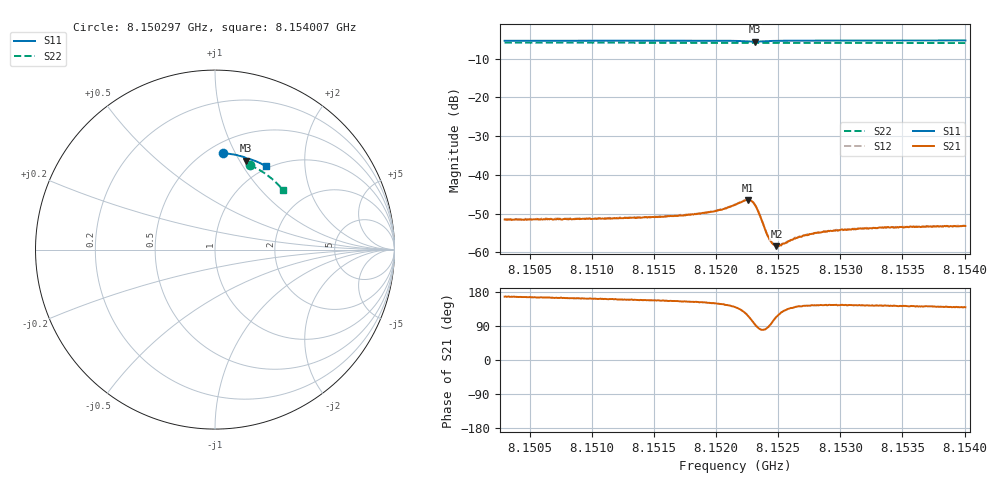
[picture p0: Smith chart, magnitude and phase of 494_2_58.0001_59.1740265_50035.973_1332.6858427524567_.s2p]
#  HZ  S  RI  R  50.00
! Rohde & Schwarz Vector Network Analyzer
! Rohde-Schwarz,ZNB20-2Port,1311601062101988,3.16
! Created: UTC 3/21/2024, 1:12:24 AM
! freq[Hz]  re:S11  im:S11  re:S21  im:S21  re:S12  im:S12  re:S22  im:S22
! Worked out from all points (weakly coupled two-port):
!   401 points, 8.150297 GHz to 8.154007 GHz, reference 50 ohm
!   highest |S21| = -46.46 dB at 8.152254 GHz (marker M1); lowest = -58.4 dB at 8.152486 GHz (marker M2)
!   lowest |S11| = -5.6 dB at 8.15231 GHz (marker M3), VSWR 3.21, Z = 39 + j53.4 ohm
!   |S11| at or under -10 dB: nowhere
!   |S22| runs from -6.0 to -5.9 dB; largest |S21 - S12| = 0.00013
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8.1502969e9  0.0436 0.5368  -0.00259 0.000583  -0.0026 0.000637  0.1938 0.4712
8.1509184e9  0.0869 0.5325  -0.00258 0.000804  -0.0026 0.000851  0.2299 0.4538
8.1515398e9  0.13 0.5246  -0.00266 0.00112  -0.00264 0.00117  0.2643 0.4338
8.1517346e9  0.1437 0.5212  -0.0027 0.00128  -0.00272 0.00133  0.2746 0.4269
8.1519108e9  0.1563 0.5174  -0.00286 0.00153  -0.00287 0.00157  0.2837 0.4205
8.1520592e9  0.1676 0.5129  -0.00306 0.00196  -0.00301 0.00208  0.2914 0.4147
8.1521519e9  0.1749 0.5081  -0.00312 0.00264  -0.00313 0.00274  0.296 0.4112
8.1522261e9  0.1791 0.5012  -0.00274 0.00373  -0.00273 0.00381  0.2997 0.4081
8.152254e9  0.1788 0.498  -0.0022 0.00421  -0.00216 0.00423  0.3013 0.407
8.1522818e9  0.1768 0.4953  -0.00133 0.00445  -0.0013 0.00448  0.3024 0.4061
8.1523096e9  0.1737 0.4952  -0.00036 0.00415  -0.00031 0.00418  0.3034 0.4048
8.1523374e9  0.1717 0.4975  0.000297 0.00341  0.000346 0.00346  0.3048 0.404
8.1523931e9  0.1739 0.5031  0.000333 0.00198  0.000343 0.00197  0.3077 0.402
8.1524209e9  0.1765 0.5047  7.78e-05 0.00158  7e-05 0.00159  0.309 0.401
8.1524487e9  0.1793 0.5056  -0.0002 0.00131  -0.000187 0.00133  0.3105 0.3999
8.1524858e9  0.183 0.5059  -0.000492 0.0011  -0.000517 0.00114  0.3123 0.3984
8.1525229e9  0.1864 0.5059  -0.000718 0.000997  -0.000704 0.00104  0.3142 0.397
8.1526528e9  0.1971 0.5037  -0.00119 0.000972  -0.0012 0.000972  0.3207 0.3917
8.1527734e9  0.206 0.501  -0.00142 0.001  -0.00143 0.00103  0.3265 0.3865
8.1530238e9  0.223 0.4943  -0.00159 0.00111  -0.00159 0.00112  0.3381 0.3758
8.1533948e9  0.247 0.4837  -0.00166 0.00126  -0.00168 0.00127  0.3548 0.3593
8.154007e9  0.2846 0.4637  -0.00166 0.00143  -0.00166 0.00145  0.3803 0.3307
